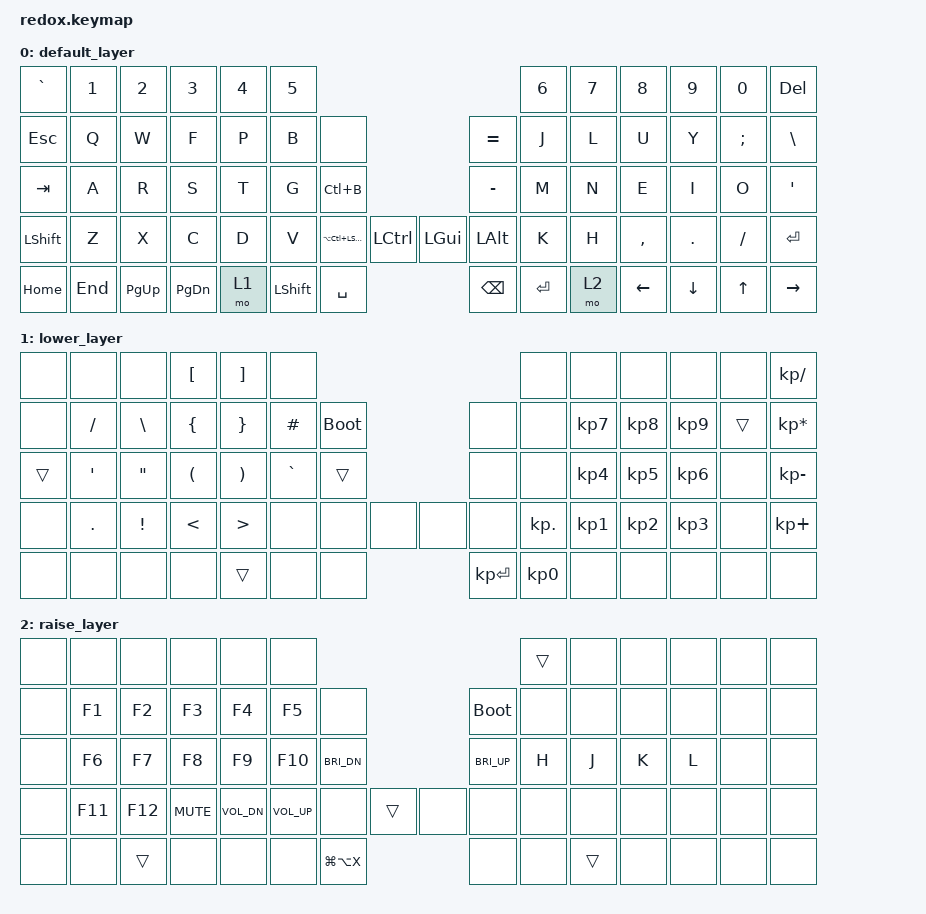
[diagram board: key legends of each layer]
/*
 * Copyright (c) 2021 The ZMK Contributors
 *
 * SPDX-License-Identifier: MIT
 */

#include <behaviors.dtsi>
#include <dt-bindings/zmk/keys.h>

/ {
    macros {
        Triple_Grave: Triple_Grave {
            compatible = "zmk,behavior-macro";
            label = "new_macro";
            #binding-cells = <0>;
            bindings = <&kp GRAVE &kp GRAVE &kp GRAVE>;
        };
    };

    keymap {
        compatible = "zmk,keymap";

        default_layer {
            // --------------------------------------------------------------------------------------------------------------------------------
            // | ESC   |  1  |  2  |   3   |  4  |  5  |                   ---                |  6    |  7    |  8    |  9   | 0  |    BKSP   |
            // | TAB   |  Q  |  W  |   E   |  R  |  T  |   (   |           ---        |  )    |  Y    |  U    |  I    |  O   | P  |     -     |
            // | CTRL  |  A  |  S  |   D   |  F  |  G  |   [   |           ---        |  ]    |  H    |  J    |  K    |  L   | ;  |     '     |
            // | SHIFT |  Z  |  X  |   C   |  V  |  B  | PG_UP | PG_DOWN | --- | HOME | END   |  N    |  M    |  ,    |  .   | /  | SHFT(RET) |
            // | CRTL  | ALT | GUI | LOWER |    GUI    | LOWER | SPACE   | --- | DEL  | SPACE |     RAISE     | LEFT  | DOWN | UP |   RIGHT   |

            bindings = <
      &kp GRAVE   &kp N1       &kp N2         &kp N3  &kp N4  &kp N5                                                                         &kp N6  &kp N7     &kp N8      &kp N9         &kp N0        &kp DELETE
     &kp ESCAPE    &kp Q        &kp W          &kp F   &kp P   &kp B              &none                                           &kp EQUAL   &kp J   &kp L      &kp U       &kp Y  &kp SEMICOLON     &kp BACKSLASH
        &kp TAB    &kp A        &kp R          &kp S   &kp T   &kp G          &kp LC(B)                                           &kp MINUS   &kp M   &kp N      &kp E       &kp I          &kp O  &kp SINGLE_QUOTE
 &kp LEFT_SHIFT    &kp Z        &kp X          &kp C   &kp D   &kp V  &kp LA(LC(LSHFT))  &kp LEFT_CONTROL               &kp LGUI   &kp LALT   &kp K   &kp H  &kp COMMA  &kp PERIOD      &kp SLASH         &kp ENTER
       &kp HOME  &kp END  &kp PAGE_UP  &kp PAGE_DOWN           &mo 1     &kp LEFT_SHIFT         &kp SPACE          &kp BACKSPACE  &kp ENTER   &mo 2           &kp LEFT    &kp DOWN         &kp UP         &kp RIGHT
            >;
        };

        lower_layer {
            // --------------------------------------------------------------------------------------------------------------------------
            // | ESC   |  1  |  2  |   3   |   4   |  5  |                   ---              |  6  |  7  |   8  |  9   |  0  |  DEL  |
            // | ESC   |  1  |  2  |   3   |   4   |  5  |   (   |           ---        |  )  |  6  |  7  |   8  |  9   |  0  |  DEL  |
            // | CTRL  |  -  |  =  |   [   |   ]   |  \  |   [   |           ---        |  ]  |  *  |  4  |   5  |  6   |  +  |   -   |
            // | SHIFT | ESC | GUI | COPY  | PASTE |     | PG_UP | PG_DOWN | --- | HOME | END |  \  |  1  |   2  |  3   | RET |  RET  |
            // | CRTL  | ALT | GUI | LOWER |     GUI     | LOWER | SPACE   | --- | DEL  |  0  |    RAISE  | LEFT | DOWN | UP  | RIGHT |

            bindings = <
  &none           &none              &none      &kp LEFT_BRACKET      &kp RIGHT_BRACKET      &none                                                             &none      &none      &none      &none   &none    &kp KP_DIVIDE
  &none       &kp SLASH      &kp BACKSLASH        &kp LEFT_BRACE        &kp RIGHT_BRACE   &kp HASH  &bootloader                                    &none       &none  &kp KP_N7  &kp KP_N8  &kp KP_N9  &trans  &kp KP_MULTIPLY
 &trans  &kp APOSTROPHE  &kp DOUBLE_QUOTES  &kp LEFT_PARENTHESIS  &kp RIGHT_PARENTHESIS  &kp GRAVE       &trans                                    &none       &none  &kp KP_N4  &kp KP_N5  &kp KP_N6   &none     &kp KP_MINUS
  &none      &kp PERIOD    &kp EXCLAMATION         &kp LESS_THAN       &kp GREATER_THAN      &none        &none   &none                 &none      &none  &kp KP_DOT  &kp KP_N1  &kp KP_N2  &kp KP_N3   &none      &kp KP_PLUS
  &none           &none              &none                 &none                            &trans        &none   &none          &kp KP_ENTER  &kp KP_N0       &none                 &none      &none   &none            &none
            >;
        };

        raise_layer {
            // ----------------------------------------------------------------------------------------------------------------------------
            // | ESC   |  1  |  2  |   3   |  4  |  5  |                   ---                |  6   |  7   |  8   |  9   |  0    |  DEL  |
            // | ESC   |  !  |  @  |   #   |  $  |  %  |   (   |           ---        |  )    |  ^   |  &   |  *   |  (   |  )    |  DEL  |
            // | CTRL  |  _  |  +  |   {   |  }  | "|" |   [   |           ---        |  ]    | HOME | PGUP | PRSC | UP   |  `    |   ~   |
            // | SHIFT | ESC | GUI |   (   |  )  |     | PG_UP | PG_DOWN | --- | HOME | END   | END  | PGDN | LEFT | DOWN | RIGHT |  RET  |
            // | CRTL  | ALT | GUI | LOWER |    GUI    | LOWER | SPACE   | --- | DEL  | SPACE |    RAISE    | LEFT | DOWN | UP    | RIGHT |

            bindings = <
  &none    &none    &none       &none         &none         &none                                                             &trans   &none   &none   &none   &none   &none
  &none   &kp F1   &kp F2      &kp F3        &kp F4        &kp F5         &none                                  &bootloader   &none   &none   &none   &none   &none   &none
  &none   &kp F6   &kp F7      &kp F8        &kp F9       &kp F10  &kp C_BRI_DN                                 &kp C_BRI_UP   &kp H   &kp J   &kp K   &kp L   &none   &none
  &none  &kp F11  &kp F12  &kp K_MUTE  &kp C_VOL_DN  &kp C_VOL_UP         &none         &trans           &none         &none   &none   &none   &none   &none   &none   &none
  &none    &none   &trans       &none                       &none         &none  &kp LG(LA(X))           &none         &none  &trans           &none   &none   &none   &none
            >;
        };
    };
};
